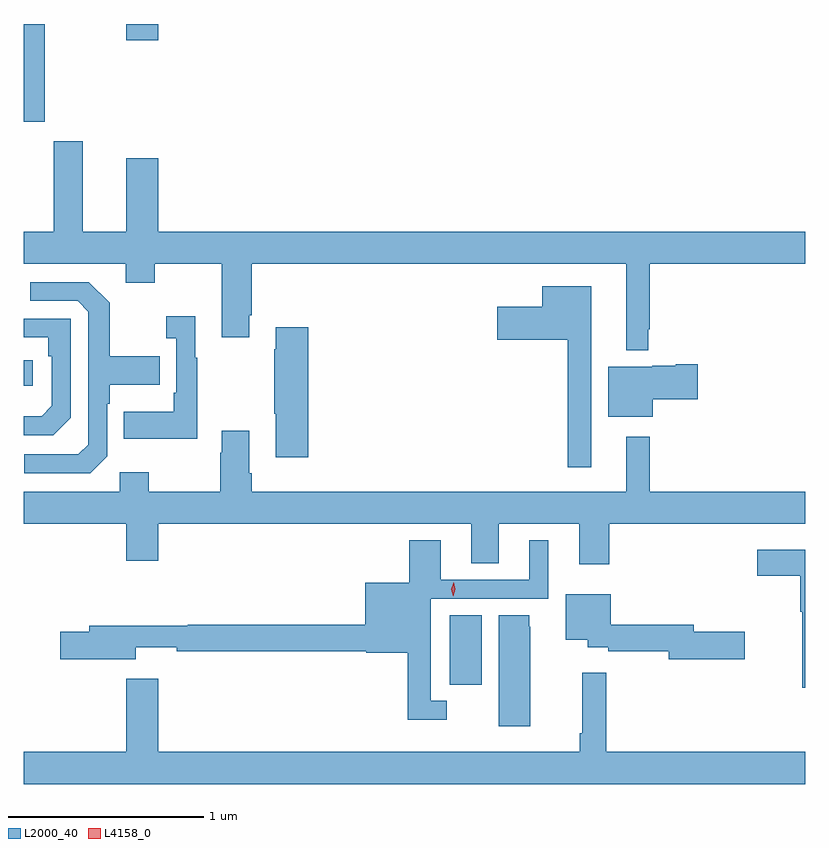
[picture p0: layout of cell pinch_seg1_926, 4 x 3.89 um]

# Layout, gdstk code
import gdstk
lib = gdstk.Library(unit=1e-6, precision=1e-09)
def R(c, l, rs):  # rectangles x0, y0, x1, y1
    for r in rs: c.add(gdstk.rectangle(r[:2], r[2:], *l))
def P(c, l, *ps):  # polygons
    for p in ps: c.add(gdstk.Polygon(p, *l))
L2000_40 = (2000, 40)
L4158_0 = (4158, 0)

pinch_seg1_926 = lib.new_cell('pinch_seg1_926')
R(pinch_seg1_926, L2000_40, [(190.64,562.896,190.804,563.252), (188.46,564.428,188.506,564.558), (188.46,565.778,188.566,566.279), (188.984,566.196,189.148,566.279)])
P(pinch_seg1_926, L2000_40, [(191.657,564.715),(191.665,564.715),(191.665,565.052),(192.46,565.052),(192.46,565.216),(189.148,565.216),(189.148,565.591),(188.984,565.591),(188.984,565.216),(188.761,565.216),(188.761,565.678),(188.614,565.678),(188.614,565.216),(188.46,565.216),(188.46,565.052),(188.981,565.052),(188.981,564.953),(189.129,564.953),(189.129,565.052),(189.473,565.052),(189.473,564.675),(189.613,564.675),(189.613,564.787),(189.626,564.787),(189.626,565.052),(191.543,565.052),(191.543,564.608),(191.657,564.608)],
  [(188.886,564.066),(188.886,564.335),(188.899,564.335),(188.899,564.431),(189.155,564.431),(189.155,564.579),(188.899,564.579),(188.899,564.851),(188.793,564.957),(188.493,564.957),(188.493,564.861),(188.736,564.861),(188.79,564.807),(188.79,564.126),(188.739,564.075),(188.463,564.075),(188.463,563.979),(188.799,563.979)],
  [(191.365,564.937),(191.114,564.937),(191.114,564.832),(190.884,564.832),(190.884,564.662),(191.244,564.662),(191.244,564.009),(191.365,564.009)],
  [(189.349,564.571),(189.337,564.571),(189.337,564.784),(189.189,564.784),(189.189,564.671),(189.24,564.671),(189.24,564.391),(189.228,564.391),(189.228,564.295),(188.971,564.295),(188.971,564.155),(189.349,564.155)],
  [(188.7,564.264),(188.7,564.771),(188.46,564.771),(188.46,564.675),(188.584,564.675),(188.584,564.578),(188.604,564.578),(188.604,564.324),(188.551,564.271),(188.46,564.271),(188.46,564.174),(188.61,564.174)],
  [(189.917,564.727),(189.749,564.727),(189.749,564.614),(189.742,564.614),(189.742,564.283),(189.749,564.283),(189.749,564.06),(189.917,564.06)],
  [(191.68,564.358),(191.911,564.358),(191.911,564.536),(191.798,564.536),(191.798,564.529),(191.676,564.529),(191.676,564.523),(191.453,564.523),(191.453,564.269),(191.68,564.269)],
  [(191.456,563.72),(192.46,563.72),(192.46,563.884),(191.665,563.884),(191.665,564.166),(191.543,564.166),(191.543,563.884),(189.626,563.884),(189.626,563.98),(189.613,563.98),(189.613,564.196),(189.473,564.196),(189.473,564.083),(189.466,564.083),(189.466,563.884),(189.099,563.884),(189.099,563.983),(188.952,563.983),(188.952,563.884),(188.46,563.884),(188.46,563.72),(188.984,563.72),(188.984,563.532),(189.148,563.532),(189.148,563.72),(190.751,563.72),(190.751,563.518),(190.891,563.518),(190.891,563.72),(191.303,563.72),(191.303,563.514),(191.456,563.514)],
  [(190.624,562.815),(190.542,562.815),(190.542,563.337),(191.146,563.337),(191.146,563.635),(191.048,563.635),(191.048,563.433),(190.594,563.433),(190.594,563.635),(190.433,563.635),(190.433,563.419),(190.208,563.419),(190.208,563.204),(189.299,563.204),(189.299,563.197),(188.795,563.197),(188.795,563.168),(188.646,563.168),(188.646,563.026),(189.034,563.026),(189.034,563.087),(189.244,563.087),(189.244,563.068),(190.212,563.068),(190.212,563.06),(190.426,563.06),(190.426,562.718),(190.624,562.718)],
  [(192.46,563.587),(192.216,563.587),(192.216,563.453),(192.434,563.453),(192.434,563.269),(192.446,563.269),(192.446,562.88),(192.46,562.88)],
  [(192.151,563.168),(191.89,563.168),(191.89,563.204),(191.464,563.204),(191.464,563.359),(191.234,563.359),(191.234,563.126),(191.348,563.126),(191.348,563.087),(191.452,563.087),(191.452,563.068),(191.762,563.068),(191.762,563.026),(192.151,563.026)],
  [(191.053,563.193),(191.047,563.193),(191.047,563.252),(190.892,563.252),(190.892,562.683),(191.053,562.683)],
  [(192.46,562.552),(191.441,562.552),(191.441,562.957),(191.32,562.957),(191.32,562.648),(191.305,562.648),(191.305,562.552),(189.148,562.552),(189.148,562.927),(188.984,562.927),(188.984,562.552),(188.46,562.552),(188.46,562.388),(192.46,562.388)])
P(pinch_seg1_926, L4158_0, [(190.658,563.349),(190.658,563.349),(190.649,563.385),(190.66,563.42),(190.66,563.42),(190.66,563.42),(190.669,563.384),(190.659,563.349)])

lib.write_gds('pinch_seg1_926.gds')
